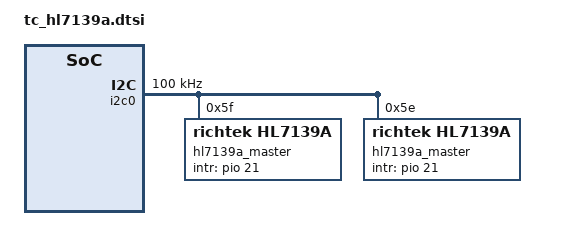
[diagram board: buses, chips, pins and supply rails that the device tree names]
&i2c0 {
	#address-cells = <1>;
	#size-cells = <0>;
	clock-frequency = <100000>;
	hl7139a_master@5f {
		compatible = "richtek,hl7139a";
		status = "okay";
		reg = <0x5f>;
		rm_name = "hl7139a";
		rm_slave_addr = /bits/ 8 <0x5f>;
		hl7139a,intr-gpios = <&pio 21 0x0>;
		standalone {
			chg_name = "primary_dvchg";
			vbatovp = <4550000>;
			ibatocp = <8600000>;
			vbusovp = <11000000>;
			ibusocp = <4300000>;
			vinovp = <11000000>;
			wdt = <40000000>;
			ibat_rsense = <1>; /* 1: 5mohm, 0: 2mohm */
			i2c_vil_up = <1>; /* I2C VIL/VIH shift up:0b = 0.4V/0.85V 1b = 0.8V/1.3V */
			lt_wd_tmr = <3>; /*level-shft watch dog: 0:5ms 1:20ms 2:100ms 3:disable*/
			gpp_conf = <0>;
			fsw_val = <6>;
			/*state_chg_i_masked;*/
			/*reg_i_masked;*/
			/*ts_temp_i_masked;*/
			/*v_ok_i_masked;*/
			/*cur_i_masked;*/
			/*short_i_masked;*/
			/*wdog_i_masked;*/
			protocol_i_masked;
			vbat_reg_dis;
			ibat_reg_dis;
			iin_reg_dis;
			tdie_reg_dis;
			/*track_ov_dis;*/
			/*track_uv_dis;*/
			/*vbatovp_dis;*/
			ibatocp_dis;
			/*ibusocp_dis;*/
			/* wdt_dis; */
			/* tsbusotp_dis; */
			/* tsbatotp_dis; */
			/* tdieotp_dis; */
			/* reg_en; */
			/* voutovp_dis; */
			/* ibusadc_dis; */
			/* vbusadc_dis; */
			/* vacadc_dis; */
			/* voutadc_dis; */
			/* vbatadc_dis; */
			/* ibatadc_dis; */
			/* tsbusadc_dis; */
			/* tsbatadc_dis; */
			/* tdieadc_dis; */
		};
	};

	hl7139a_master@5e {
		compatible = "richtek,hl7139a";
		status = "okay";
		reg = <0x5e>;
		rm_name = "hl7139a";
		rm_slave_addr = /bits/ 8 <0x5e>;
		hl7139a,intr-gpios = <&pio 21 0x0>;
		standalone {
			chg_name = "primary_dvchg";
			vbatovp = <4550000>;
			ibatocp = <8600000>;
			vbusovp = <11000000>;
			ibusocp = <4300000>;
			vinovp = <11000000>;
			wdt = <40000000>;
			ibat_rsense = <1>; /* 1: 5mohm, 0: 2mohm */
			i2c_vil_up = <1>; /* I2C VIL/VIH shift up:0b = 0.4V/0.85V 1b = 0.8V/1.3V */
			lt_wd_tmr = <3>; /*level-shft watch dog: 0:5ms 1:20ms 2:100ms 3:disable*/
			gpp_conf = <0>;
			/*state_chg_i_masked;*/
			/*reg_i_masked;*/
			/*ts_temp_i_masked;*/
			/*v_ok_i_masked;*/
			/*cur_i_masked;*/
			/*short_i_masked;*/
			/*wdog_i_masked;*/
			protocol_i_masked;
			vbat_reg_dis;
			ibat_reg_dis;
			iin_reg_dis;
			tdie_reg_dis;
			/*track_ov_dis;*/
			/*track_uv_dis;*/
			/*vbatovp_dis;*/
			ibatocp_dis;
			/*ibusocp_dis;*/
			/* wdt_dis; */
			/* tsbusotp_dis; */
			/* tsbatotp_dis; */
			/* tdieotp_dis; */
			/* reg_en; */
			/* voutovp_dis; */
			/* ibusadc_dis; */
			/* vbusadc_dis; */
			/* vacadc_dis; */
			/* voutadc_dis; */
			/* vbatadc_dis; */
			/* ibatadc_dis; */
			/* tsbusadc_dis; */
			/* tsbatadc_dis; */
			/* tdieadc_dis; */
		};
	};
};
